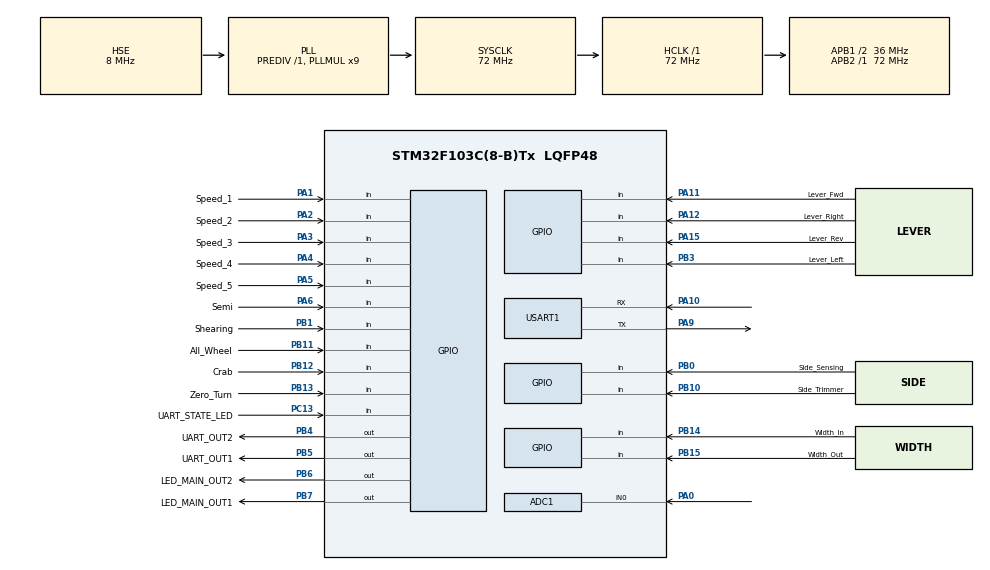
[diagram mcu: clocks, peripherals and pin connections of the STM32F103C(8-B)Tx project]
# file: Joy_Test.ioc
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ADC1.Channel-0\#ChannelRegularConversion=ADC_CHANNEL_0
ADC1.NbrOfConversionFlag=1
ADC1.Rank-0\#ChannelRegularConversion=1
ADC1.SamplingTime-0\#ChannelRegularConversion=ADC_SAMPLETIME_1CYCLE_5
ADC1.master=1
Dma.Request0=USART1_TX
Dma.Request1=USART1_RX
Dma.USART1_RX.1.Direction=DMA_PERIPH_TO_MEMORY
Dma.USART1_RX.1.Instance=DMA1_Channel5
Dma.USART1_RX.1.MemDataAlignment=DMA_MDATAALIGN_BYTE
Dma.USART1_RX.1.MemInc=DMA_MINC_ENABLE
Dma.USART1_RX.1.Mode=DMA_NORMAL
Dma.USART1_RX.1.PeriphDataAlignment=DMA_PDATAALIGN_BYTE
Dma.USART1_RX.1.PeriphInc=DMA_PINC_DISABLE
Dma.USART1_RX.1.Priority=DMA_PRIORITY_LOW
Dma.USART1_TX.0.Direction=DMA_MEMORY_TO_PERIPH
Dma.USART1_TX.0.Instance=DMA1_Channel4
Dma.USART1_TX.0.MemDataAlignment=DMA_MDATAALIGN_BYTE
Dma.USART1_TX.0.MemInc=DMA_MINC_ENABLE
Dma.USART1_TX.0.Mode=DMA_CIRCULAR
Dma.USART1_TX.0.PeriphDataAlignment=DMA_PDATAALIGN_BYTE
Dma.USART1_TX.0.PeriphInc=DMA_PINC_DISABLE
Dma.USART1_TX.0.Priority=DMA_PRIORITY_LOW
Mcu.Family=STM32F1
Mcu.Name=STM32F103C(8-B)Tx
Mcu.Package=LQFP48
NVIC.ADC1_2_IRQn=true\:0\:0\:false\:true\:true\:3\:true\:true\:true
NVIC.DMA1_Channel4_IRQn=true\:0\:0\:false\:false\:true\:false\:true\:true
NVIC.DMA1_Channel5_IRQn=true\:0\:0\:false\:false\:true\:false\:true\:true
NVIC.FLASH_IRQn=true\:0\:0\:false\:false\:true\:true\:true\:true
NVIC.PriorityGroup=NVIC_PRIORITYGROUP_4
NVIC.RCC_IRQn=true\:0\:0\:false\:true\:true\:2\:true\:false\:true
NVIC.TIM2_IRQn=true\:0\:0\:false\:true\:true\:1\:true\:true\:true
NVIC.USART1_IRQn=true\:0\:0\:false\:false\:true\:true\:true\:true
PA0-WKUP.Signal=ADCx_IN0
PA1.GPIO_Label=Speed_1
PA1.GPIO_PuPd=GPIO_PULLUP
PA1.Signal=GPIO_Input
PA10.Mode=Asynchronous
PA10.Signal=USART1_RX
PA11.GPIO_Label=Lever_Fwd
PA11.GPIO_PuPd=GPIO_PULLUP
PA11.Signal=GPIO_Input
PA12.GPIO_Label=Lever_Right
PA12.GPIO_PuPd=GPIO_PULLUP
PA12.Signal=GPIO_Input
PA13.Mode=Serial_Wire
PA13.Signal=SYS_JTMS-SWDIO
PA14.Mode=Serial_Wire
PA14.Signal=SYS_JTCK-SWCLK
PA15.GPIO_Label=Lever_Rev
PA15.GPIO_PuPd=GPIO_PULLUP
PA15.Signal=GPIO_Input
PA2.GPIO_Label=Speed_2
PA2.GPIO_PuPd=GPIO_PULLUP
PA2.Signal=GPIO_Input
PA3.GPIO_Label=Speed_3
PA3.GPIO_PuPd=GPIO_PULLUP
PA3.Signal=GPIO_Input
PA4.GPIO_Label=Speed_4
PA4.GPIO_PuPd=GPIO_PULLUP
PA4.Signal=GPIO_Input
PA5.GPIO_Label=Speed_5
PA5.GPIO_PuPd=GPIO_PULLUP
PA5.Signal=GPIO_Input
PA6.GPIO_Label=Semi
PA6.GPIO_PuPd=GPIO_PULLUP
PA6.Signal=GPIO_Input
PA9.Mode=Asynchronous
PA9.Signal=USART1_TX
PB0.GPIO_Label=Side_Sensing
PB0.GPIO_PuPd=GPIO_PULLUP
PB0.Signal=GPIO_Input
PB1.GPIO_Label=Shearing
PB1.GPIO_PuPd=GPIO_PULLUP
PB1.Signal=GPIO_Input
PB10.GPIO_Label=Side_Trimmer
PB10.GPIO_PuPd=GPIO_PULLUP
PB10.Signal=GPIO_Input
PB11.GPIO_Label=All_Wheel
PB11.GPIO_PuPd=GPIO_PULLUP
PB11.Signal=GPIO_Input
PB12.GPIO_Label=Crab
PB12.GPIO_PuPd=GPIO_PULLUP
PB12.Signal=GPIO_Input
PB13.GPIO_Label=Zero_Turn
PB13.GPIO_PuPd=GPIO_PULLUP
PB13.Signal=GPIO_Input
PB14.GPIO_Label=Width_In
PB14.GPIO_PuPd=GPIO_PULLUP
PB14.Signal=GPIO_Input
PB15.GPIO_Label=Width_Out
PB15.GPIO_PuPd=GPIO_PULLUP
PB15.Signal=GPIO_Input
PB3.GPIO_Label=Lever_Left
PB3.GPIO_PuPd=GPIO_PULLUP
PB3.Signal=GPIO_Input
PB4.GPIO_Label=UART_OUT2
PB4.Signal=GPIO_Output
PB5.GPIO_Label=UART_OUT1
PB5.Signal=GPIO_Output
PB6.GPIO_Label=LED_MAIN_OUT2
PB6.Signal=GPIO_Output
PB7.GPIO_Label=LED_MAIN_OUT1
PB7.Signal=GPIO_Output
PC13-TAMPER-RTC.GPIO_Label=UART_STATE_LED
PC13-TAMPER-RTC.GPIO_PuPd=GPIO_PULLUP
PC13-TAMPER-RTC.Signal=GPIO_Input
PD0-OSC_IN.Mode=HSE-External-Oscillator
PD0-OSC_IN.Signal=RCC_OSC_IN
PD1-OSC_OUT.Mode=HSE-External-Oscillator
PD1-OSC_OUT.Signal=RCC_OSC_OUT
ProjectManager.HeapSize=0x200
ProjectManager.StackSize=0x400
ProjectManager.TargetToolchain=MDK-ARM V5.32
RCC.ADCPresc=RCC_ADCPCLK2_DIV6
RCC.AHBFreq_Value=72000000
RCC.APB1CLKDivider=RCC_HCLK_DIV2
RCC.APB1Freq_Value=36000000
RCC.APB1TimFreq_Value=72000000
RCC.APB2Freq_Value=72000000
RCC.APB2TimFreq_Value=72000000
RCC.HCLKFreq_Value=72000000
RCC.PLLMUL=RCC_PLL_MUL9
RCC.PLLSourceVirtual=RCC_PLLSOURCE_HSE
RCC.SYSCLKFreq_VALUE=72000000
RCC.SYSCLKSource=RCC_SYSCLKSOURCE_PLLCLK
RCC.USBFreq_Value=72000000
SH.ADCx_IN0.0=ADC1_IN0,IN0
TIM2.Period=1000-1
TIM2.Prescaler=7200-1
USART1.VirtualMode=VM_ASYNC
VP_TIM2_VS_ClockSourceINT.Mode=Internal
board=custom

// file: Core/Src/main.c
/* USER CODE BEGIN Header */
/**
  ******************************************************************************
  * @file           : main.c
  * @brief          : Main program body
  ******************************************************************************
  * @attention
  *
  * Copyright (c) 2024 STMicroelectronics.
  * All rights reserved.
  *
  * This software is licensed under terms that can be found in the LICENSE file
  * in the root directory of this software component.
  * If no LICENSE file comes with this software, it is provided AS-IS.
  *
  ******************************************************************************
  */
/* USER CODE END Header */
#include "main.h"

/* USER CODE BEGIN Includes */
#include "stdbool.h"
#include "time.h"
/* USER CODE END Includes */

/* USER CODE BEGIN PD */
#define SET 1
#define NULL 0
/* USER CODE END PD */

ADC_HandleTypeDef hadc1;

TIM_HandleTypeDef htim2;

UART_HandleTypeDef huart1;
DMA_HandleTypeDef hdma_usart1_tx;
DMA_HandleTypeDef hdma_usart1_rx;

/* USER CODE BEGIN PV */
uint8_t num=0;
uint8_t Mode,Semi,Side_Sensing,Mode_Temp;
uint8_t Speed_Level,speed1,speed2,speed3,speed4,speed5,Speed_Temp;
uint8_t Shearing,Side_Trimmer,Shearing_Value,Shearing_Value_Temp;
uint8_t Lever_Fwd,Lever_Rev,Lever_Value,Lever_Temp,Lever_Right,Lever_Left;
uint8_t Steering_Mode,All_Wheel,Crab,Zero_Turn,Width_In,Width_Out,Steering_Mode_Temp;
uint32_t Steering_Angle,Steering_Val,Steering_Angle_Temp,Steering_Val_Avg,Steering_Val_Temp,Adc;
uint8_t Uart_State_Pin=0,n1;
uint8_t count,Tx[9],ref,Rx,Uart_Connection,Prev_Uart_Connection,Prev_Rx,Uart_Check,Data[8],inc=0,difference=0;
bool TX_FLAG=NULL;
uint32_t Tx_Time=0,calc_time=0,TX_2Time=0;
/* USER CODE END PV */

void SystemClock_Config(void);
static void MX_GPIO_Init(void);
static void MX_DMA_Init(void);
static void MX_ADC1_Init(void);
static void MX_TIM2_Init(void);
static void MX_USART1_UART_Init(void);
static void MX_NVIC_Init(void);

/* USER CODE BEGIN 0 */
void Uart_State()
{
	 Uart_State_Pin=HAL_GPIO_ReadPin(GPIOC,GPIO_PIN_13);

//	if(Uart_State_Pin==0){
//		HAL_GPIO_WritePin(GPIOB,GPIO_PIN_5,GPIO_PIN_SET);
//		HAL_GPIO_WritePin(GPIOB,GPIO_PIN_4,GPIO_PIN_RESET);
//	}
//	else{
//		HAL_GPIO_WritePin(GPIOB,GPIO_PIN_4,GPIO_PIN_SET);
//		HAL_GPIO_WritePin(GPIOB,GPIO_PIN_5,GPIO_PIN_RESET);
//	}
	Uart_Check=(Uart_State_Pin==1 || Uart_Connection==1)?1:0;
	if(Uart_Check==1 ){
		HAL_GPIO_WritePin(GPIOB,GPIO_PIN_5,GPIO_PIN_SET);
		HAL_GPIO_WritePin(GPIOB,GPIO_PIN_4,GPIO_PIN_RESET);
	}
	else if (Uart_Check==0) {
		HAL_GPIO_WritePin(GPIOB,GPIO_PIN_4,GPIO_PIN_SET);
		HAL_GPIO_WritePin(GPIOB,GPIO_PIN_5,GPIO_PIN_RESET);
	}
}
void Main_Battery()
{
	HAL_UART_Receive_DMA(&huart1,&Rx,sizeof(Rx));
	if(Rx==0 && Uart_Check==1) {
		HAL_GPIO_TogglePin(GPIOB,GPIO_PIN_6);
//		HAL_GPIO_WritePin(GPIOB,GPIO_PIN_6,GPIO_PIN_SET);
//		HAL_GPIO_WritePin(GPIOB,GPIO_PIN_7,GPIO_PIN_RESET);
	  }                                                        // Battery level checking condition
	  else if(Rx==1){
		HAL_GPIO_WritePin(GPIOB,GPIO_PIN_7,GPIO_PIN_SET);
		HAL_GPIO_WritePin(GPIOB,GPIO_PIN_6,GPIO_PIN_RESET);
	  }
		else{
				HAL_GPIO_WritePin(GPIOB,GPIO_PIN_6,GPIO_PIN_SET);
		HAL_GPIO_WritePin(GPIOB,GPIO_PIN_7,GPIO_PIN_RESET);
		}
}
void Tx_Data()
	{
	Tx[0]=0xAA;
	Tx[1]=Mode;
	Tx[2]=Speed_Level;
	Tx[3]=Steering_Mode;
	Tx[4]=Steering_Angle;
	Tx[5]=Lever_Value;
	Tx[6]=Shearing_Value;
	Tx[8]=0xFF;
	Tx[7]=count;
	HAL_UART_Transmit_IT(&huart1 ,Tx  , sizeof(Tx) );
}
void Modes()
	{
		Semi=HAL_GPIO_ReadPin(GPIOA,GPIO_PIN_6);
		Side_Sensing=HAL_GPIO_ReadPin(GPIOB,GPIO_PIN_0);
		Mode=((Semi==0)? 3: (Side_Sensing==0)? 1: 2);

		if(Mode_Temp!=Mode){
			TX_FLAG=SET;
//			 Tx_Data();
			 Mode_Temp=Mode;
		//	a++;
		 }

   }
void Speed()
  {
	  speed1= HAL_GPIO_ReadPin(GPIOA,GPIO_PIN_1);
	  speed2= HAL_GPIO_ReadPin(GPIOA,GPIO_PIN_2);
	  speed3= HAL_GPIO_ReadPin(GPIOA,GPIO_PIN_3);
	  speed4= HAL_GPIO_ReadPin(GPIOA,GPIO_PIN_4);
	  speed5= HAL_GPIO_ReadPin(GPIOA,GPIO_PIN_5);
	  Speed_Level=((speed1==0)? 1 : (speed2==0)? 2 : (speed3==0)? 3:(speed4==0)? 4:(speed5==0)? 5: 0);

	  if(Speed_Temp != Speed_Level){
//		  Tx_Data();
	TX_FLAG=SET;
		  Speed_Temp=Speed_Level;
		//	a++;
	  }
  }
		void Shearing_Button()
		{
				Shearing=HAL_GPIO_ReadPin(GPIOB,GPIO_PIN_1);
			  Side_Trimmer=HAL_GPIO_ReadPin(GPIOB,GPIO_PIN_10);
			  Shearing_Value=((Shearing==0)? 1 :(Side_Trimmer==0)? 3 :2);
			if(Shearing_Value!=Shearing_Value_Temp){
//				Tx_Data();
					TX_FLAG=SET;
				Shearing_Value_Temp=Shearing_Value;
			//	a++;
				}
	  }
		void Lever()
	{
		Lever_Fwd=HAL_GPIO_ReadPin(GPIOA,GPIO_PIN_11);
		Lever_Left=HAL_GPIO_ReadPin(GPIOB,GPIO_PIN_3);
		Lever_Right=HAL_GPIO_ReadPin(GPIOA,GPIO_PIN_12);
		Lever_Rev=HAL_GPIO_ReadPin(GPIOA,GPIO_PIN_15);
		Lever_Value=((Lever_Fwd==0)? 4 : (Lever_Rev==0)? 3 : (Lever_Right==0)? 2: (Lever_Left==0)? 1: 0);
		if(Lever_Temp != Lever_Value){
//			Tx_Data();
				TX_FLAG=SET;
			Lever_Temp=Lever_Value;
		//	a++;
		}
}
	void Steering_Modes()
	{
		All_Wheel=HAL_GPIO_ReadPin(GPIOB,GPIO_PIN_11);
		Crab=HAL_GPIO_ReadPin(GPIOB,GPIO_PIN_12);
		Zero_Turn=HAL_GPIO_ReadPin(GPIOB,GPIO_PIN_13);
		Width_In=HAL_GPIO_ReadPin(GPIOB,GPIO_PIN_14);
		Width_Out=HAL_GPIO_ReadPin(GPIOB,GPIO_PIN_15);
		Steering_Mode=((All_Wheel==0)? 1 : (Crab==0)? 2 : (Zero_Turn==0)? 3 : (Width_In==0)? 4 : (Width_Out==0)? 5 :0);

		if(Steering_Mode_Temp != Steering_Mode){
//		  Tx_Data();
				TX_FLAG=SET;
		  Steering_Mode_Temp = Steering_Mode;
	//		a++;
		}
  }

	void Steering()
  {

		HAL_ADC_Start(&hadc1);
		HAL_ADC_PollForConversion(&hadc1,100);
		for(int i=0; i<=100000; i++)															// AVERAGING IT  BY / WITH 100000
	 {
		 Steering_Val += HAL_ADC_GetValue(&hadc1);
	 }
	 Steering_Val_Avg = Steering_Val / 100000;
	 if ( ((Steering_Val_Temp+25)< Steering_Val_Avg)|| ((Steering_Val_Temp-25)>Steering_Val_Avg ))
	 {
	   Steering_Angle = (Steering_Val_Avg * 181)/4036;
		 Steering_Angle=(Steering_Angle<=0)?0:(Steering_Angle>180)?180:Steering_Angle;
		 if( Steering_Angle != Steering_Angle_Temp )
		 {
//			Tx_Data();
			 	TX_FLAG=SET;
			Steering_Angle_Temp = Steering_Angle;
		//	 a++;
		 }
		 Steering_Val_Temp = Steering_Val_Avg;
	 }
	 Steering_Val = 0;
  }
/* USER CODE END 0 */

int main(void)
{

  /* MCU Configuration--------------------------------------------------------*/

  /* Reset of all peripherals, Initializes the Flash interface and the Systick. */
  HAL_Init();

  /* Configure the system clock */
  SystemClock_Config();

  /* Initialize all configured peripherals */
  MX_GPIO_Init();
  MX_DMA_Init();
  MX_ADC1_Init();
  MX_TIM2_Init();
//  MX_USART1_UART_Init();

  /* Initialize interrupts */
  MX_NVIC_Init();
  /* USER CODE BEGIN 2 */
	  MX_USART1_UART_Init();
	Data[0]=0xBB;
  Data[7]=0xEE;
//	HAL_TIM_Base_Start_IT(&htim2);

  /* USER CODE END 2 */

  /* Infinite loop */
  /* USER CODE BEGIN WHILE */
  while (1)
  {

		Uart_State();
		Main_Battery();
		Speed();
		Modes();
		Shearing_Button();
		Lever();
		Steering_Modes();
		Steering();
	calc_time=HAL_GetTick()-Tx_Time;
		if((HAL_GetTick()-Tx_Time)>100){
//	calc_time=HAL_GetTick()-Tx_Time;			//(TX_FLAG==SET)
			count++;
			Tx_Data();
			Tx_Time=HAL_GetTick();
		}

//		HAL_GPIO_TogglePin(GPIOB,GPIO_PIN_4);
//		HAL_Delay(1000);
//		HAL_GPIO_TogglePin(GPIOB,GPIO_PIN_5);
    /* USER CODE END WHILE */

  }
}

void SystemClock_Config(void)
{
  RCC_OscInitTypeDef RCC_OscInitStruct = {0};
  RCC_ClkInitTypeDef RCC_ClkInitStruct = {0};
  RCC_PeriphCLKInitTypeDef PeriphClkInit = {0};

  /** Initializes the RCC Oscillators according to the specified parameters
  * in the RCC_OscInitTypeDef structure.
  */
  RCC_OscInitStruct.OscillatorType = RCC_OSCILLATORTYPE_HSE;
  RCC_OscInitStruct.HSEState = RCC_HSE_ON;
  RCC_OscInitStruct.HSEPredivValue = RCC_HSE_PREDIV_DIV1;
  RCC_OscInitStruct.HSIState = RCC_HSI_ON;
  RCC_OscInitStruct.PLL.PLLState = RCC_PLL_ON;
  RCC_OscInitStruct.PLL.PLLSource = RCC_PLLSOURCE_HSE;
  RCC_OscInitStruct.PLL.PLLMUL = RCC_PLL_MUL9;
  if (HAL_RCC_OscConfig(&RCC_OscInitStruct) != HAL_OK)
  {
    Error_Handler();
  }

  /** Initializes the CPU, AHB and APB buses clocks
  */
  RCC_ClkInitStruct.ClockType = RCC_CLOCKTYPE_HCLK|RCC_CLOCKTYPE_SYSCLK
                              |RCC_CLOCKTYPE_PCLK1|RCC_CLOCKTYPE_PCLK2;
  RCC_ClkInitStruct.SYSCLKSource = RCC_SYSCLKSOURCE_PLLCLK;
  RCC_ClkInitStruct.AHBCLKDivider = RCC_SYSCLK_DIV1;
  RCC_ClkInitStruct.APB1CLKDivider = RCC_HCLK_DIV2;
  RCC_ClkInitStruct.APB2CLKDivider = RCC_HCLK_DIV1;

  if (HAL_RCC_ClockConfig(&RCC_ClkInitStruct, FLASH_LATENCY_2) != HAL_OK)
  {
    Error_Handler();
  }
  PeriphClkInit.PeriphClockSelection = RCC_PERIPHCLK_ADC;
  PeriphClkInit.AdcClockSelection = RCC_ADCPCLK2_DIV6;
  if (HAL_RCCEx_PeriphCLKConfig(&PeriphClkInit) != HAL_OK)
  {
    Error_Handler();
  }
}

/**
  * @brief NVIC Configuration.
  * @retval None
  */
static void MX_NVIC_Init(void)
{
  /* TIM2_IRQn interrupt configuration */
  HAL_NVIC_SetPriority(TIM2_IRQn, 0, 0);
  HAL_NVIC_EnableIRQ(TIM2_IRQn);
  /* RCC_IRQn interrupt configuration */
  HAL_NVIC_SetPriority(RCC_IRQn, 0, 0);
  HAL_NVIC_EnableIRQ(RCC_IRQn);
  /* ADC1_2_IRQn interrupt configuration */
  HAL_NVIC_SetPriority(ADC1_2_IRQn, 0, 0);
  HAL_NVIC_EnableIRQ(ADC1_2_IRQn);
}

static void MX_ADC1_Init(void)
{

  ADC_ChannelConfTypeDef sConfig = {0};

  /** Common config
  */
  hadc1.Instance = ADC1;
  hadc1.Init.ScanConvMode = ADC_SCAN_DISABLE;
  hadc1.Init.ContinuousConvMode = DISABLE;
  hadc1.Init.DiscontinuousConvMode = DISABLE;
  hadc1.Init.ExternalTrigConv = ADC_SOFTWARE_START;
  hadc1.Init.DataAlign = ADC_DATAALIGN_RIGHT;
  hadc1.Init.NbrOfConversion = 1;
  if (HAL_ADC_Init(&hadc1) != HAL_OK)
  {
    Error_Handler();
  }

  /** Configure Regular Channel
  */
  sConfig.Channel = ADC_CHANNEL_0;
  sConfig.Rank = ADC_REGULAR_RANK_1;
  sConfig.SamplingTime = ADC_SAMPLETIME_1CYCLE_5;
  if (HAL_ADC_ConfigChannel(&hadc1, &sConfig) != HAL_OK)
  {
    Error_Handler();
  }

}

static void MX_TIM2_Init(void)
{

  TIM_ClockConfigTypeDef sClockSourceConfig = {0};
  TIM_MasterConfigTypeDef sMasterConfig = {0};

  htim2.Instance = TIM2;
  htim2.Init.Prescaler = 7200-1;
  htim2.Init.CounterMode = TIM_COUNTERMODE_UP;
  htim2.Init.Period = 1000-1;
  htim2.Init.ClockDivision = TIM_CLOCKDIVISION_DIV1;
  htim2.Init.AutoReloadPreload = TIM_AUTORELOAD_PRELOAD_DISABLE;
  if (HAL_TIM_Base_Init(&htim2) != HAL_OK)
  {
    Error_Handler();
  }
  sClockSourceConfig.ClockSource = TIM_CLOCKSOURCE_INTERNAL;
  if (HAL_TIM_ConfigClockSource(&htim2, &sClockSourceConfig) != HAL_OK)
  {
    Error_Handler();
  }
  sMasterConfig.MasterOutputTrigger = TIM_TRGO_RESET;
  sMasterConfig.MasterSlaveMode = TIM_MASTERSLAVEMODE_DISABLE;
  if (HAL_TIMEx_MasterConfigSynchronization(&htim2, &sMasterConfig) != HAL_OK)
  {
    Error_Handler();
  }

}

static void MX_USART1_UART_Init(void)
{

  huart1.Instance = USART1;
  huart1.Init.BaudRate = 115200;
  huart1.Init.WordLength = UART_WORDLENGTH_8B;
  huart1.Init.StopBits = UART_STOPBITS_1;
  huart1.Init.Parity = UART_PARITY_NONE;
  huart1.Init.Mode = UART_MODE_TX_RX;
  huart1.Init.HwFlowCtl = UART_HWCONTROL_NONE;
  huart1.Init.OverSampling = UART_OVERSAMPLING_16;
  if (HAL_UART_Init(&huart1) != HAL_OK)
  {
    Error_Handler();
  }

}

static void MX_DMA_Init(void)
{

  /* DMA controller clock enable */
  __HAL_RCC_DMA1_CLK_ENABLE();

  /* DMA interrupt init */
  /* DMA1_Channel4_IRQn interrupt configuration */
  HAL_NVIC_SetPriority(DMA1_Channel4_IRQn, 0, 0);
  HAL_NVIC_EnableIRQ(DMA1_Channel4_IRQn);
  /* DMA1_Channel5_IRQn interrupt configuration */
  HAL_NVIC_SetPriority(DMA1_Channel5_IRQn, 0, 0);
  HAL_NVIC_EnableIRQ(DMA1_Channel5_IRQn);

}

static void MX_GPIO_Init(void)
{
  GPIO_InitTypeDef GPIO_InitStruct = {0};

  /* GPIO Ports Clock Enable */
  __HAL_RCC_GPIOC_CLK_ENABLE();
  __HAL_RCC_GPIOD_CLK_ENABLE();
  __HAL_RCC_GPIOA_CLK_ENABLE();
  __HAL_RCC_GPIOB_CLK_ENABLE();

  /*Configure GPIO pin Output Level */
  HAL_GPIO_WritePin(GPIOB, UART_OUT2_Pin|UART_OUT1_Pin|LED_MAIN_OUT2_Pin|LED_MAIN_OUT1_Pin, GPIO_PIN_RESET);

  /*Configure GPIO pin : UART_STATE_LED_Pin */
  GPIO_InitStruct.Pin = UART_STATE_LED_Pin;
  GPIO_InitStruct.Mode = GPIO_MODE_INPUT;
  GPIO_InitStruct.Pull = GPIO_PULLUP;
  HAL_GPIO_Init(UART_STATE_LED_GPIO_Port, &GPIO_InitStruct);

  /*Configure GPIO pins : Speed_1_Pin Speed_2_Pin Speed_3_Pin Speed_4_Pin
                           Speed_5_Pin Semi_Pin Lever_Fwd_Pin Lever_Right_Pin
                           Lever_Rev_Pin */
  GPIO_InitStruct.Pin = Speed_1_Pin|Speed_2_Pin|Speed_3_Pin|Speed_4_Pin
                          |Speed_5_Pin|Semi_Pin|Lever_Fwd_Pin|Lever_Right_Pin
                          |Lever_Rev_Pin;
  GPIO_InitStruct.Mode = GPIO_MODE_INPUT;
  GPIO_InitStruct.Pull = GPIO_PULLUP;
  HAL_GPIO_Init(GPIOA, &GPIO_InitStruct);

  /*Configure GPIO pins : Side_Sensing_Pin Shearing_Pin Side_Trimmer_Pin All_Wheel_Pin
                           Crab_Pin Zero_Turn_Pin Width_In_Pin Width_Out_Pin
                           Lever_Left_Pin */
  GPIO_InitStruct.Pin = Side_Sensing_Pin|Shearing_Pin|Side_Trimmer_Pin|All_Wheel_Pin
                          |Crab_Pin|Zero_Turn_Pin|Width_In_Pin|Width_Out_Pin
                          |Lever_Left_Pin;
  GPIO_InitStruct.Mode = GPIO_MODE_INPUT;
  GPIO_InitStruct.Pull = GPIO_PULLUP;
  HAL_GPIO_Init(GPIOB, &GPIO_InitStruct);

  /*Configure GPIO pins : UART_OUT2_Pin UART_OUT1_Pin LED_MAIN_OUT2_Pin LED_MAIN_OUT1_Pin */
  GPIO_InitStruct.Pin = UART_OUT2_Pin|UART_OUT1_Pin|LED_MAIN_OUT2_Pin|LED_MAIN_OUT1_Pin;
  GPIO_InitStruct.Mode = GPIO_MODE_OUTPUT_PP;
  GPIO_InitStruct.Pull = GPIO_NOPULL;
  GPIO_InitStruct.Speed = GPIO_SPEED_FREQ_LOW;
  HAL_GPIO_Init(GPIOB, &GPIO_InitStruct);

}

void Error_Handler(void)
{
  __disable_irq();
  while (1)
  {
  }
}
